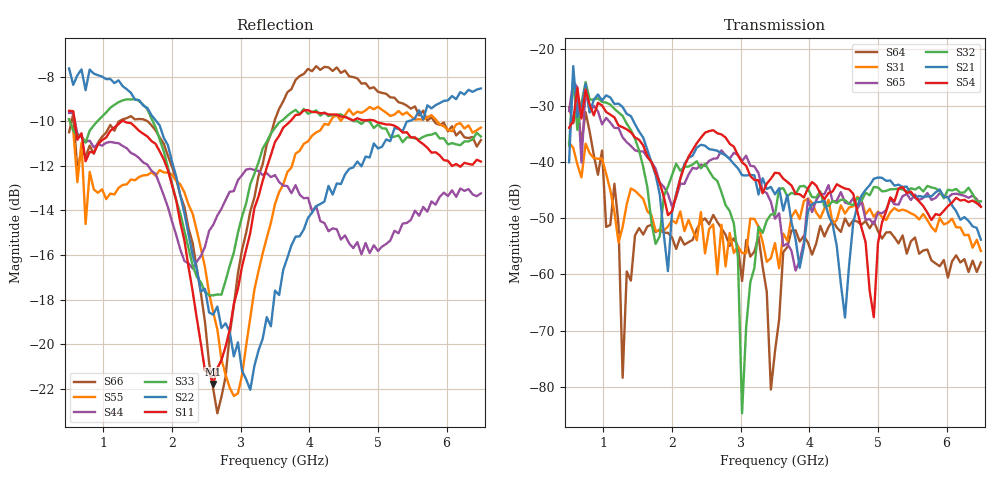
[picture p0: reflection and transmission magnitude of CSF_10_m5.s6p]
!Keysight Technologies,M9804A,MY58100912,A.14.10.03
!Date: Thursday, April 27, 2023 10:28:33
!Correction: S11(C  6-Port  )
!S12(C  6-Port  )
!S13(C  6-Port  )
!S14(C  6-Port  )
!S15(C  6-Port  )
!S16(C  6-Port  )
!S21(C  6-Port  )
!S22(C  6-Port  )
!S23(C  6-Port  )
!S24(C  6-Port  )
!S25(C  6-Port  )
!S26(C  6-Port  )
!S31(C  6-Port  )
!S32(C  6-Port  )
!S33(C  6-Port  )
!S34(C  6-Port  )
!S35(C  6-Port  )
!S36(C  6-Port  )
!S41(C  6-Port  )
!S42(C  6-Port  )
!S43(C  6-Port  )
!S44(C  6-Port  )
!S45(C  6-Port  )
!S46(C  6-Port  )
!S51(C  6-Port  )
!S52(C  6-Port  )
!S53(C  6-Port  )
!S54(C  6-Port  )
!S55(C  6-Port  )
!S56(C  6-Port  )
!S61(C  6-Port  )
!S62(C  6-Port  )
!S63(C  6-Port  )
!S64(C  6-Port  )
!S65(C  6-Port  )
!S66(C  6-Port  )
!S6P File: Measurement: :
# Hz S  RI  R 50
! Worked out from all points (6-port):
!   101 points, 500 MHz to 6.5 GHz, reference 50 ohm
!   strongest paths, dB at 500 MHz, 2 GHz, 3.5 GHz, 5 GHz, 6.5 GHz:
!     S54: -33.9, -48.8, -41.9, -54.5, -48.0
!     S21: -40.1, -48.9, -45.8, -42.8, -53.8
!     S32: -37.1, -42.3, -49.3, -44.5, -47.0
!     S65: -31.0, -48.0, -50.1, -49.0, -48.0
!     S31: -36.6, -50.4, -54.4, -48.8, -55.8
!     S64: -30.3, -53.4, -73.6, -52.3, -57.9
!   lowest |S11| = -21.8 dB at 2.6 GHz (marker M1), VSWR 1.18, Z = 42.7 + j1.95 ohm
!   |S11| at or under -10 dB: 581.4 MHz to 1.265 GHz (683.8 MHz wide, 74.1 % of centre); 1.306 GHz to 3.719 GHz (2.414 GHz wide, 96.1 % of centre); 4.968 GHz to end of sweep
